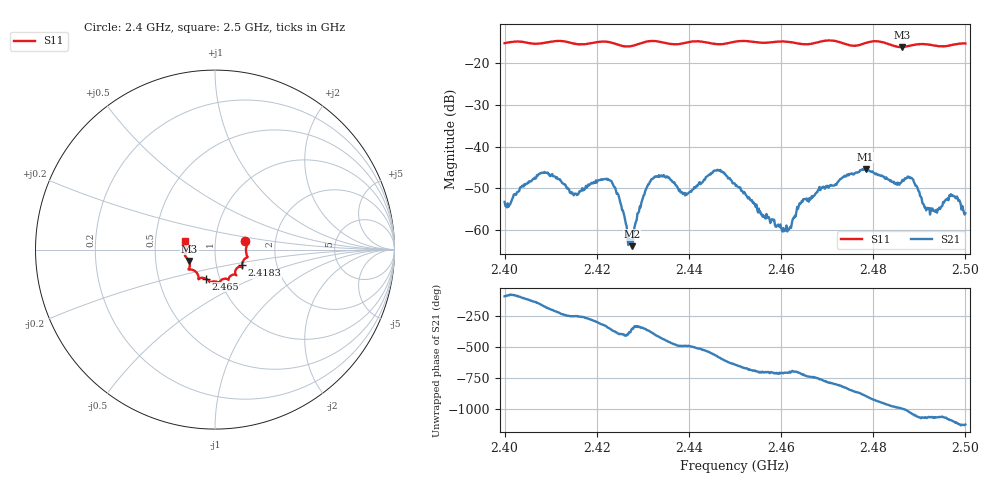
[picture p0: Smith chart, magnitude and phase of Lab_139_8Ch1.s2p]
# Hz S RI R 50
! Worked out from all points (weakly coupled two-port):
!   601 points, 2.4 GHz to 2.5 GHz, reference 50 ohm
!   highest |S21| = -45.36 dB at 2.4783 GHz (marker M1); lowest = -63.9 dB at 2.4277 GHz (marker M2)
!   lowest |S11| = -16.1 dB at 2.4862 GHz (marker M3), VSWR 1.37, Z = 37.2 - j4.83 ohm
!   |S11| at or under -10 dB: start of sweep to end of sweep
!   S12 and S22 are empty: the file has one direction only
!   S11 on the Smith chart (normalised r, x): 2.4 GHz: 1.40, +0.13; 2.4183 GHz: 1.33, -0.24; 2.465 GHz: 0.86, -0.29; 2.5 GHz: 0.71, +0.07
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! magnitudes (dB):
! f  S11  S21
! 2.4 GHz  -15.1  -53.2
! 2.4083 GHz  -15.1  -46.3
! 2.4167 GHz  -15.4  -50.5
! 2.4183 GHz  -15.2  -49.3
! 2.423 GHz  -14.9  -48.2
! 2.4272 GHz  -15.9  -63.2
! 2.4277 GHz  -15.8  -63.9
! 2.4307 GHz  -14.8  -50.3
! 2.4333 GHz  -14.7  -47.2
! 2.4392 GHz  -15.1  -51.7
! 2.446 GHz  -15.4  -45.7
! 2.45 GHz  -14.8  -48.9
! 2.4605 GHz  -14.7  -59.5
! 2.465 GHz  -15.4  -52.6
! 2.4667 GHz  -15.3  -51.8
! 2.4783 GHz  -15.1  -45.4
! 2.4833 GHz  -15.3  -47.9
! 2.4862 GHz  -16.1  -48.4
! 2.4883 GHz  -15.6  -47.5
! 2.4918 GHz  -15.4  -54.7
! 2.497 GHz  -15.6  -51.7
! 2.5 GHz  -15.2  -56.0
